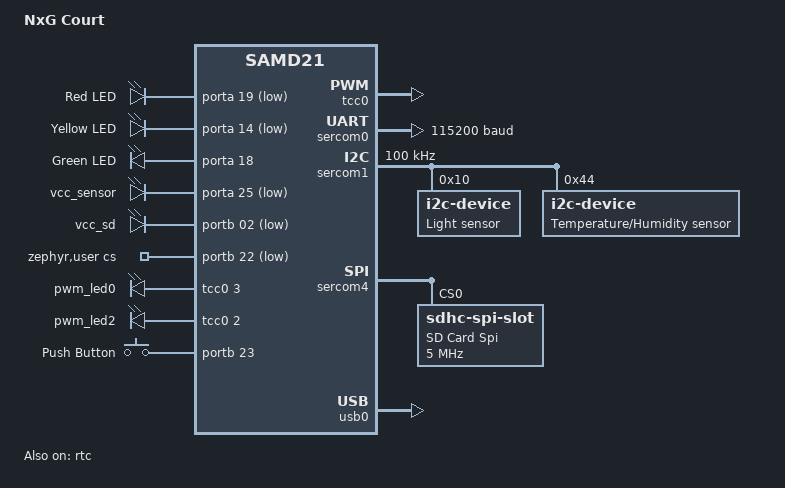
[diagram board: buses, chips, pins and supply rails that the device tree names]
/dts-v1/;
#include <freq.h>
#include <atmel/samd21.dtsi>
#include <atmel/samx2xx18.dtsi>
#include "nxg_court.dtsi"
#include <zephyr/dt-bindings/input/input-event-codes.h>

/ {
	model = "NxG Court";
	compatible = "nxg,court", "atmel,samd21g18a", "atmel,samd21";

	chosen {
		zephyr,console = &sercom0;
		zephyr,shell-uart = &sercom0;
		zephyr,sram = &sram0;
		zephyr,flash = &flash0;
	};

	aliases {
		led0 = &led0;
		led1 = &led1;
		led2 = &led2;
		pwm-led0 = &pwm_led0;
		pwm-led2 = &pwm_led2;
		sw0 = &push_button;
		i2c-0 = &sercom1;
	};

	leds: leds {
		compatible = "gpio-leds";
		led0: led_0 {
			gpios = <&porta 19 GPIO_ACTIVE_LOW>;
			label = "Red LED";
		};
		led1: led_1 {
			gpios = <&porta 14 GPIO_ACTIVE_LOW>;
			label = "Yellow LED";
		};
		led2: led_2 {
			gpios = <&porta 18 GPIO_ACTIVE_HIGH>;
			label = "Green LED";
		};
	};
	vcc {
		compatible = "gpio-leds";
		vcc_sensor: vcc_sensor {
			gpios = <&porta 25 GPIO_ACTIVE_LOW>;
		};
		vcc_sd: vcc_sd {
			gpios = <&portb 02 GPIO_ACTIVE_LOW>;
		};
	};
	zephyr,user {
		cs-gpios = <&portb 22 GPIO_ACTIVE_LOW>;
	};

	pwmleds: pwmleds {
		compatible = "pwm-leds";
		pwm_led0: pwm_led_0 {
			pwms = <&tcc0 3 PWM_MSEC(20)>; // Need to invert polarity, but samd21 doesn't support it
		};
		pwm_led2: pwm_led_2 {
			pwms = <&tcc0 2 PWM_MSEC(20)>;
		};
	};

	buttons {
		compatible = "gpio-keys";
		push_button: button_0 {
			gpios = <&portb 23 (GPIO_PULL_UP | GPIO_ACTIVE_HIGH)>;
			label = "Push Button";
			zephyr,code = <INPUT_KEY_0>;
		};
	};
};

&cpu0 {
	clock-frequency = <DT_FREQ_M(48)>;
};

&tcc0 {
	status = "okay";
	compatible = "atmel,sam0-tcc-pwm";
	/* Gives a maximum period of 1.4s */
	prescaler = <4>;
	#pwm-cells = <2>;

	pinctrl-0 = <&pwm_default>;
	pinctrl-names = "default";
};

&rtc {
	status = "okay";
	counter-mode = "clock";
	prescaler = <1024>;
};

&sercom0 {
	status = "okay";
	compatible = "atmel,sam0-uart";
	current-speed = <115200>;
	rxpo = <1>;
	txpo = <0>;

	pinctrl-0 = <&sercom0_uart_default>;
	pinctrl-names = "default";
};

&sercom1 {
	status = "okay";
	compatible = "atmel,sam0-i2c";
	clock-frequency = <I2C_BITRATE_STANDARD>;
	#address-cells = <1>;
	#size-cells = <0>;

	pinctrl-0 = <&sercom1_i2c_default>;
	pinctrl-names = "default";

	lum_sensor: lum_sensor@10 {
		compatible = "i2c-device";
		label = "Light sensor";
		reg = <0x10>;
	};
	temp_sensor: temp_sensor@44 {
		compatible = "i2c-device";
		label = "Temperature/Humidity sensor";
		reg = <0x44>;
	};
};

&sercom2 {
	status = "disabled";
	compatible = "atmel,sam0-i2c";
	clock-frequency = <I2C_BITRATE_FAST>;
	#address-cells = <1>;
	#size-cells = <0>;

	pinctrl-0 = <&sercom2_i2c_default>;
	pinctrl-names = "default";
};

&sercom3 {
	status = "disabled";
	compatible = "atmel,sam0-uart";
	current-speed = <115200>;
	rxpo = <1>;
	txpo = <0>;

	pinctrl-0 = <&sercom3_uart_default>;
	pinctrl-names = "default";
};

&sercom4 {
	status = "okay";
	compatible = "atmel,sam0-spi";
	dipo = <3>;
	dopo = <0>;
	#address-cells = <1>;
	#size-cells = <0>;

	pinctrl-0 = <&sercom4_spi_default>;
	pinctrl-names = "default";
	// cs-gpios = <&portb 22 GPIO_ACTIVE_LOW>;

	sd_card: sd_card@0 {
		compatible = "zephyr,sdhc-spi-slot";
		label = "SD Card Spi";
		reg = <0>;
		status = "okay";
		mmc {
			compatible = "zephyr,sdmmc-disk";
			disk-name = "SD";
			status = "okay";
		};
		spi-max-frequency = <5000000>;
	};
};

&sercom5 {
	status = "disabled";
	compatible = "atmel,sam0-spi";
	dipo = <0>;
	dopo = <2>;
	#address-cells = <1>;
	#size-cells = <0>;

	pinctrl-0 = <&sercom5_spi_default>;
	pinctrl-names = "default";
};

zephyr_udc0: &usb0 {
	status = "okay";

	pinctrl-0 = <&usb_dc_default>;
	pinctrl-names = "default";
};
